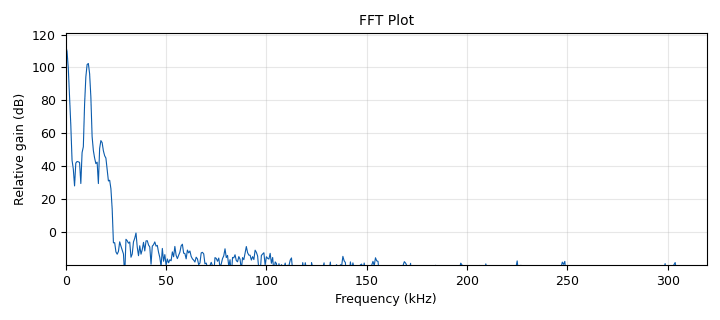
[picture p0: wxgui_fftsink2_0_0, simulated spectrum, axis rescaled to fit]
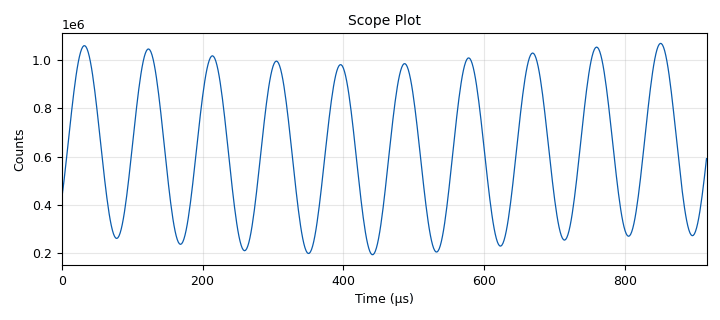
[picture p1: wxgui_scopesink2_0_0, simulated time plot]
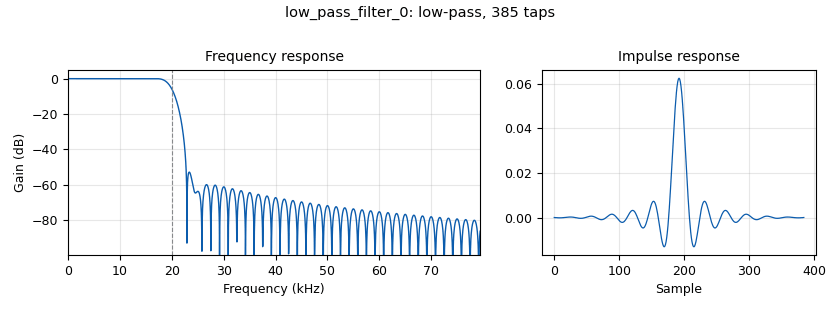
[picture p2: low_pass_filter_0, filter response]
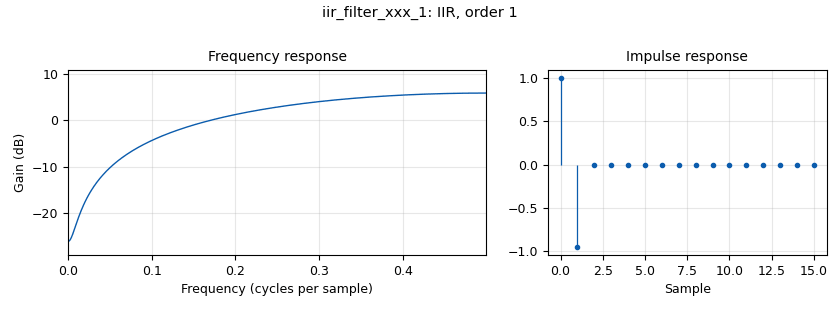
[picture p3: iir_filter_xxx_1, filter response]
<?xml version='1.0' encoding='utf-8'?>
<?grc format='1' created='3.7.9'?>
<flow_graph>
<block>
<key>options</key>
<param><key>id</key><value>top_block</value></param>
<param><key>category</key><value>Custom</value></param>
<param><key>generate_options</key><value>wx_gui</value></param>
</block>
<block>
<key>variable</key>
<param><key>id</key><value>samp_rate</value></param>
<param><key>value</key><value>32000</value></param>
</block>
<block>
<key>variable_slider</key>
<param><key>id</key><value>slider</value></param>
<param><key>converver</key><value>float_converter</value></param>
<param><key>value</key><value>75e3</value></param>
<param><key>label</key><value></value></param>
<param><key>max</key><value>1000e3</value></param>
<param><key>min</key><value>0</value></param>
<param><key>num_steps</key><value>100</value></param>
<param><key>style</key><value>wx.SL_HORIZONTAL</value></param>
</block>
<block>
<key>variable</key>
<param><key>id</key><value>sr_fm_pm</value></param>
<param><key>value</key><value>640e3</value></param>
</block>
<block>
<key>variable</key>
<param><key>id</key><value>sr_rtl_sdr</value></param>
<param><key>value</key><value>2e6</value></param>
</block>
<block>
<key>variable</key>
<param><key>id</key><value>sr_unmodulated</value></param>
<param><key>value</key><value>40e3</value></param>
</block>
<block>
<key>analog_noise_source_x</key>
<param><key>id</key><value>analog_noise_source_x_0</value></param>
<param><key>amp</key><value>0.2</value></param>
<param><key>noise_type</key><value>analog.GR_GAUSSIAN</value></param>
<param><key>type</key><value>complex</value></param>
<param><key>seed</key><value>0</value></param>
</block>
<block>
<key>analog_phase_modulator_fc</key>
<param><key>id</key><value>analog_phase_modulator_fc_0</value></param>
<param><key>sensitivity</key><value>2*3.14*slider</value></param>
</block>
<block>
<key>analog_sig_source_x</key>
<param><key>id</key><value>analog_sig_source_x_0</value></param>
<param><key>amp</key><value>.5</value></param>
<param><key>freq</key><value>1.1e3</value></param>
<param><key>offset</key><value>0</value></param>
<param><key>type</key><value>float</value></param>
<param><key>samp_rate</key><value>sr_unmodulated</value></param>
<param><key>waveform</key><value>analog.GR_COS_WAVE</value></param>
</block>
<block>
<key>analog_sig_source_x</key>
<param><key>id</key><value>analog_sig_source_x_1</value></param>
<param><key>amp</key><value>.5</value></param>
<param><key>freq</key><value>11e3</value></param>
<param><key>offset</key><value>0</value></param>
<param><key>type</key><value>float</value></param>
<param><key>samp_rate</key><value>sr_unmodulated</value></param>
<param><key>waveform</key><value>analog.GR_COS_WAVE</value></param>
</block>
<block>
<key>analog_sig_source_x</key>
<param><key>id</key><value>analog_sig_source_x_2</value></param>
<param><key>amp</key><value>1</value></param>
<param><key>freq</key><value>100e3</value></param>
<param><key>offset</key><value>0</value></param>
<param><key>type</key><value>complex</value></param>
<param><key>samp_rate</key><value>sr_fm_pm</value></param>
<param><key>waveform</key><value>analog.GR_COS_WAVE</value></param>
</block>
<block>
<key>blocks_add_xx</key>
<param><key>id</key><value>blocks_add_xx_0</value></param>
<param><key>type</key><value>float</value></param>
</block>
<block>
<key>blocks_add_xx</key>
<param><key>id</key><value>blocks_add_xx_1</value></param>
<param><key>type</key><value>complex</value></param>
</block>
<block>
<key>blocks_complex_to_arg</key>
<param><key>id</key><value>blocks_complex_to_arg_0</value></param>
</block>
<block>
<key>blocks_conjugate_cc</key>
<param><key>id</key><value>blocks_conjugate_cc_0</value></param>
</block>
<block>
<key>blocks_delay</key>
<param><key>id</key><value>blocks_delay_0</value></param>
<param><key>delay</key><value>1</value></param>
<param><key>type</key><value>complex</value></param>
</block>
<block>
<key>blocks_multiply_const_vxx</key>
<param><key>id</key><value>blocks_multiply_const_vxx_0</value></param>
<param><key>const</key><value>sr_fm_pm</value></param>
<param><key>type</key><value>float</value></param>
</block>
<block>
<key>blocks_multiply_xx</key>
<param><key>id</key><value>blocks_multiply_xx_0</value></param>
<param><key>type</key><value>complex</value></param>
</block>
<block>
<key>blocks_multiply_xx</key>
<param><key>id</key><value>blocks_multiply_xx_1</value></param>
<param><key>type</key><value>complex</value></param>
</block>
<block>
<key>blocks_throttle</key>
<param><key>id</key><value>blocks_throttle_0</value></param>
<param><key>samples_per_second</key><value>sr_fm_pm</value></param>
<param><key>type</key><value>float</value></param>
</block>
<block>
<key>dc_blocker_xx</key>
<param><key>id</key><value>dc_blocker_xx_0</value></param>
<param><key>_enabled</key><value>2</value></param>
<param><key>length</key><value>32</value></param>
<param><key>long_form</key><value>True</value></param>
<param><key>type</key><value>ff</value></param>
</block>
<block>
<key>iir_filter_xxx</key>
<param><key>id</key><value>iir_filter_xxx_0</value></param>
<param><key>fftaps</key><value>[1/sr_unmodulated]</value></param>
<param><key>fbtaps</key><value>[1,1]</value></param>
<param><key>type</key><value>ffd</value></param>
</block>
<block>
<key>iir_filter_xxx</key>
<param><key>id</key><value>iir_filter_xxx_1</value></param>
<param><key>fftaps</key><value>[1,-0.95]</value></param>
<param><key>fbtaps</key><value>[1]</value></param>
<param><key>type</key><value>ffd</value></param>
</block>
<block>
<key>iir_filter_xxx</key>
<param><key>id</key><value>iir_filter_xxx_2</value></param>
<param><key>_enabled</key><value>0</value></param>
<param><key>fftaps</key><value>[1]</value></param>
<param><key>fbtaps</key><value>[1,.95]</value></param>
<param><key>type</key><value>ffd</value></param>
</block>
<block>
<key>low_pass_filter</key>
<param><key>id</key><value>low_pass_filter_0</value></param>
<param><key>cutoff_freq</key><value>20e3</value></param>
<param><key>decim</key><value>1</value></param>
<param><key>type</key><value>fir_filter_fff</value></param>
<param><key>gain</key><value>1</value></param>
<param><key>samp_rate</key><value>sr_fm_pm</value></param>
<param><key>width</key><value>4e3</value></param>
<param><key>win</key><value>firdes.WIN_HAMMING</value></param>
</block>
<block>
<key>notebook</key>
<param><key>id</key><value>notebook_0</value></param>
<param><key>labels</key><value>['scope', 'fft']</value></param>
<param><key>style</key><value>wx.NB_TOP</value></param>
</block>
<block>
<key>rational_resampler_xxx</key>
<param><key>id</key><value>rational_resampler_xxx_0</value></param>
<param><key>decim</key><value>1</value></param>
<param><key>interp</key><value>16</value></param>
<param><key>taps</key><value></value></param>
<param><key>type</key><value>fff</value></param>
</block>
<block>
<key>rational_resampler_xxx</key>
<param><key>id</key><value>rational_resampler_xxx_1</value></param>
<param><key>decim</key><value>16</value></param>
<param><key>_enabled</key><value>0</value></param>
<param><key>interp</key><value>1</value></param>
<param><key>taps</key><value></value></param>
<param><key>type</key><value>fff</value></param>
</block>
<block>
<key>rational_resampler_xxx</key>
<param><key>id</key><value>rational_resampler_xxx_1_0</value></param>
<param><key>decim</key><value>1</value></param>
<param><key>_enabled</key><value>0</value></param>
<param><key>interp</key><value>16</value></param>
<param><key>taps</key><value></value></param>
<param><key>type</key><value>fff</value></param>
</block>
<block>
<key>wxgui_fftsink2</key>
<param><key>id</key><value>wxgui_fftsink2_0_0</value></param>
<param><key>avg_alpha</key><value>0</value></param>
<param><key>average</key><value>False</value></param>
<param><key>baseband_freq</key><value>0</value></param>
<param><key>fft_size</key><value>1024</value></param>
<param><key>freqvar</key><value>None</value></param>
<param><key>notebook</key><value>notebook_0, 1</value></param>
<param><key>peak_hold</key><value>False</value></param>
<param><key>ref_level</key><value>0</value></param>
<param><key>ref_scale</key><value>2.0</value></param>
<param><key>fft_rate</key><value>15</value></param>
<param><key>samp_rate</key><value>sr_fm_pm</value></param>
<param><key>title</key><value>FFT Plot</value></param>
<param><key>type</key><value>float</value></param>
<param><key>win</key><value>None</value></param>
<param><key>y_divs</key><value>10</value></param>
<param><key>y_per_div</key><value>10</value></param>
</block>
<block>
<key>wxgui_scopesink2</key>
<param><key>id</key><value>wxgui_scopesink2_0_0</value></param>
<param><key>ac_couple</key><value>False</value></param>
<param><key>notebook</key><value>notebook_0, 0</value></param>
<param><key>num_inputs</key><value>1</value></param>
<param><key>samp_rate</key><value>sr_fm_pm</value></param>
<param><key>t_scale</key><value>0</value></param>
<param><key>title</key><value>Scope Plot</value></param>
<param><key>trig_mode</key><value>wxgui.TRIG_MODE_AUTO</value></param>
<param><key>type</key><value>float</value></param>
<param><key>v_offset</key><value>0</value></param>
<param><key>v_scale</key><value>0</value></param>
<param><key>xy_mode</key><value>False</value></param>
<param><key>y_axis_label</key><value>Counts</value></param>
</block>
<connection><source_block_id>analog_noise_source_x_0</source_block_id><sink_block_id>blocks_add_xx_1</sink_block_id><source_key>0</source_key><sink_key>1</sink_key></connection>
<connection><source_block_id>analog_phase_modulator_fc_0</source_block_id><sink_block_id>blocks_multiply_xx_0</sink_block_id><source_key>0</source_key><sink_key>0</sink_key></connection>
<connection><source_block_id>analog_sig_source_x_0</source_block_id><sink_block_id>blocks_add_xx_0</sink_block_id><source_key>0</source_key><sink_key>0</sink_key></connection>
<connection><source_block_id>analog_sig_source_x_1</source_block_id><sink_block_id>blocks_add_xx_0</sink_block_id><source_key>0</source_key><sink_key>1</sink_key></connection>
<connection><source_block_id>analog_sig_source_x_2</source_block_id><sink_block_id>blocks_multiply_xx_0</sink_block_id><source_key>0</source_key><sink_key>1</sink_key></connection>
<connection><source_block_id>blocks_add_xx_0</source_block_id><sink_block_id>iir_filter_xxx_1</sink_block_id><source_key>0</source_key><sink_key>0</sink_key></connection>
<connection><source_block_id>blocks_add_xx_1</source_block_id><sink_block_id>blocks_delay_0</sink_block_id><source_key>0</source_key><sink_key>0</sink_key></connection>
<connection><source_block_id>blocks_add_xx_1</source_block_id><sink_block_id>blocks_multiply_xx_1</sink_block_id><source_key>0</source_key><sink_key>1</sink_key></connection>
<connection><source_block_id>blocks_complex_to_arg_0</source_block_id><sink_block_id>blocks_multiply_const_vxx_0</sink_block_id><source_key>0</source_key><sink_key>0</sink_key></connection>
<connection><source_block_id>blocks_conjugate_cc_0</source_block_id><sink_block_id>blocks_multiply_xx_1</sink_block_id><source_key>0</source_key><sink_key>0</sink_key></connection>
<connection><source_block_id>blocks_delay_0</source_block_id><sink_block_id>blocks_conjugate_cc_0</sink_block_id><source_key>0</source_key><sink_key>0</sink_key></connection>
<connection><source_block_id>blocks_multiply_const_vxx_0</source_block_id><sink_block_id>low_pass_filter_0</sink_block_id><source_key>0</source_key><sink_key>0</sink_key></connection>
<connection><source_block_id>blocks_multiply_const_vxx_0</source_block_id><sink_block_id>rational_resampler_xxx_1</sink_block_id><source_key>0</source_key><sink_key>0</sink_key></connection>
<connection><source_block_id>blocks_multiply_xx_0</source_block_id><sink_block_id>blocks_add_xx_1</sink_block_id><source_key>0</source_key><sink_key>0</sink_key></connection>
<connection><source_block_id>blocks_multiply_xx_1</source_block_id><sink_block_id>blocks_complex_to_arg_0</sink_block_id><source_key>0</source_key><sink_key>0</sink_key></connection>
<connection><source_block_id>blocks_throttle_0</source_block_id><sink_block_id>wxgui_fftsink2_0_0</sink_block_id><source_key>0</source_key><sink_key>0</sink_key></connection>
<connection><source_block_id>blocks_throttle_0</source_block_id><sink_block_id>wxgui_scopesink2_0_0</sink_block_id><source_key>0</source_key><sink_key>0</sink_key></connection>
<connection><source_block_id>dc_blocker_xx_0</source_block_id><sink_block_id>rational_resampler_xxx_0</sink_block_id><source_key>0</source_key><sink_key>0</sink_key></connection>
<connection><source_block_id>iir_filter_xxx_0</source_block_id><sink_block_id>dc_blocker_xx_0</sink_block_id><source_key>0</source_key><sink_key>0</sink_key></connection>
<connection><source_block_id>iir_filter_xxx_1</source_block_id><sink_block_id>iir_filter_xxx_0</sink_block_id><source_key>0</source_key><sink_key>0</sink_key></connection>
<connection><source_block_id>iir_filter_xxx_2</source_block_id><sink_block_id>rational_resampler_xxx_1_0</sink_block_id><source_key>0</source_key><sink_key>0</sink_key></connection>
<connection><source_block_id>low_pass_filter_0</source_block_id><sink_block_id>blocks_throttle_0</sink_block_id><source_key>0</source_key><sink_key>0</sink_key></connection>
<connection><source_block_id>low_pass_filter_0</source_block_id><sink_block_id>rational_resampler_xxx_1_0</sink_block_id><source_key>0</source_key><sink_key>0</sink_key></connection>
<connection><source_block_id>rational_resampler_xxx_0</source_block_id><sink_block_id>analog_phase_modulator_fc_0</sink_block_id><source_key>0</source_key><sink_key>0</sink_key></connection>
<connection><source_block_id>rational_resampler_xxx_1</source_block_id><sink_block_id>iir_filter_xxx_2</sink_block_id><source_key>0</source_key><sink_key>0</sink_key></connection>
<connection><source_block_id>rational_resampler_xxx_1</source_block_id><sink_block_id>low_pass_filter_0</sink_block_id><source_key>0</source_key><sink_key>0</sink_key></connection>
<connection><source_block_id>rational_resampler_xxx_1_0</source_block_id><sink_block_id>blocks_throttle_0</sink_block_id><source_key>0</source_key><sink_key>0</sink_key></connection>
</flow_graph>
